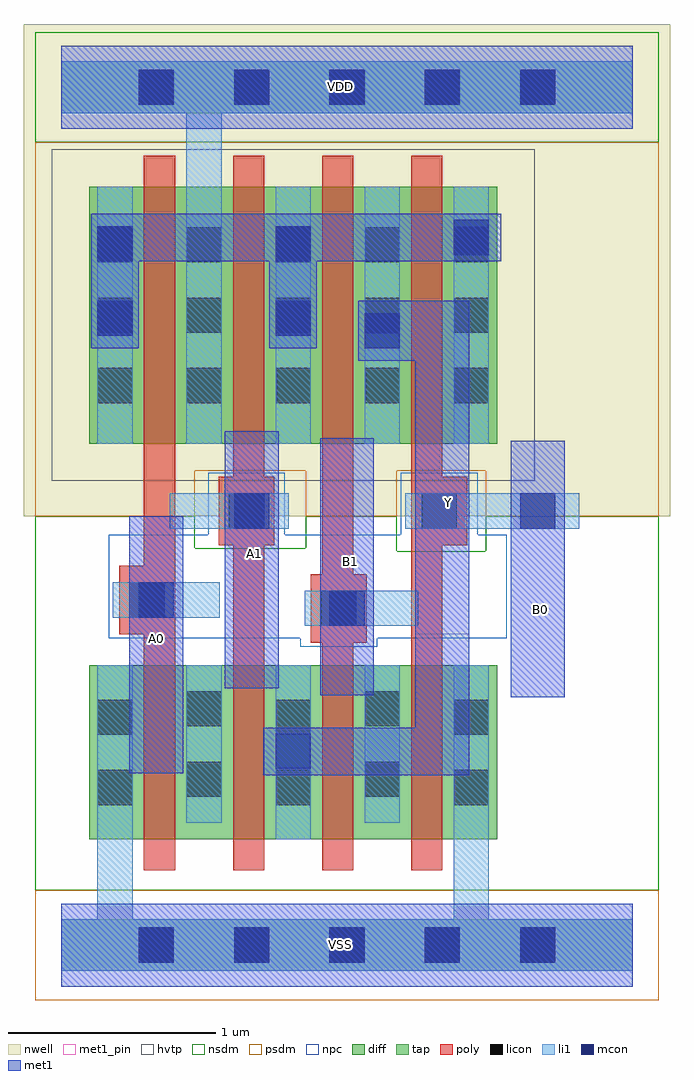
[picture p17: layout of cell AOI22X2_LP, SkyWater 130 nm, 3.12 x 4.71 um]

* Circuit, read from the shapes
.subckt AOI22X2_LP A0 A1 B0 B1 VDD VSS Y
XM1 n1 A0 VSS VSS sky130_fd_pr__nfet_01v8 w=0.84 l=0.15
XM2 Y A1 n1 VSS sky130_fd_pr__nfet_01v8 w=0.84 l=0.15
XM3 n2 B1 Y VSS sky130_fd_pr__nfet_01v8 w=0.84 l=0.15
XM4 VSS B0 n2 VSS sky130_fd_pr__nfet_01v8 w=0.84 l=0.15
XM5 VDD A0 n3 VDD sky130_fd_pr__pfet_01v8_hvt w=1.24 l=0.15
XM6 n3 A1 VDD VDD sky130_fd_pr__pfet_01v8_hvt w=1.24 l=0.15
XM7 Y B1 n3 VDD sky130_fd_pr__pfet_01v8_hvt w=1.24 l=0.15
XM8 n3 B0 Y VDD sky130_fd_pr__pfet_01v8_hvt w=1.24 l=0.15
.ends

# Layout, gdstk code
import gdstk
lib = gdstk.Library(unit=1e-6, precision=1e-09)
def R(c, l, rs):  # rectangles x0, y0, x1, y1
    for r in rs: c.add(gdstk.rectangle(r[:2], r[2:], *l))
def A(c, l, x, y, w, h, nx, ny, dx, dy):  # array of equal rectangles
    R(c, l, [(x+i*dx, y+j*dy, x+i*dx+w, y+j*dy+h) for i in range(nx) for j in range(ny)])
def P(c, l, *ps):  # polygons
    for p in ps: c.add(gdstk.Polygon(p, *l))
nwell = (64, 20)
diff = (65, 20)
tap = (65, 44)
poly = (66, 20)
licon = (66, 44)
li1 = (67, 20)
mcon = (67, 44)
met1_pin = (68, 16)
met1 = (68, 20)
hvtp = (78, 44)
nsdm = (93, 44)
psdm = (94, 20)
npc = (95, 20)

l1m1_c_cdns_750721840971 = lib.new_cell('L1M1_C_CDNS_750721840971')
R(l1m1_c_cdns_750721840971, li1, [(-0.085,-0.165,0.085,0.165)])
R(l1m1_c_cdns_750721840971, mcon, [(-0.085,-0.085,0.085,0.085)])
R(l1m1_c_cdns_750721840971, met1, [(-0.115,-0.145,0.115,0.145)])

c_l1m1_c_cdns_750721840971 = lib.new_cell('L1M1_C_CDNS_7507218409710')
R(c_l1m1_c_cdns_750721840971, li1, [(-0.085,-0.165,0.085,0.165)])
R(c_l1m1_c_cdns_750721840971, mcon, [(-0.085,-0.085,0.085,0.085)])
R(c_l1m1_c_cdns_750721840971, met1, [(-0.145,-0.115,0.145,0.115)])

licondiff_c_cdns_7507218 = lib.new_cell('LICONDIFF_C_CDNS_750721840974')
R(licondiff_c_cdns_7507218, diff, [(-0.125,-0.145,0.125,0.145)])
R(licondiff_c_cdns_7507218, licon, [(-0.085,-0.085,0.085,0.085), (-0.085,-0.085,0.085,0.085)])

pyl1con_c_cdns_750721840 = lib.new_cell('PYL1CON_C_CDNS_750721840972')
R(pyl1con_c_cdns_750721840, poly, [(-0.135,-0.165,0.135,0.165)])
R(pyl1con_c_cdns_750721840, licon, [(-0.085,-0.085,0.085,0.085)])
R(pyl1con_c_cdns_750721840, npc, [(-0.185,-0.185,0.185,0.185)])

c_l1m1_c_cdns_750721840971_ = lib.new_cell('L1M1_C_CDNS_7507218409713')
R(c_l1m1_c_cdns_750721840971_, li1, [(-0.085,-0.085,0.085,0.085)])
R(c_l1m1_c_cdns_750721840971_, mcon, [(-0.085,-0.085,0.085,0.085)])
R(c_l1m1_c_cdns_750721840971_, met1, [(-0.145,-0.115,0.145,0.115)])

l1m1_c_cdns_750721840973 = lib.new_cell('L1M1_C_CDNS_750721840973')
R(l1m1_c_cdns_750721840973, li1, [(-0.165,-0.085,0.165,0.085)])
R(l1m1_c_cdns_750721840973, mcon, [(-0.085,-0.085,0.085,0.085)])
R(l1m1_c_cdns_750721840973, met1, [(-0.115,-0.145,0.115,0.145)])

l1m1_c_cdns_750721840975 = lib.new_cell('L1M1_C_CDNS_750721840975')
R(l1m1_c_cdns_750721840975, li1, [(-0.085,-0.345,0.085,0.345)])
R(l1m1_c_cdns_750721840975, mcon, [(-0.085,-0.265,0.085,-0.095), (-0.085,0.095,0.085,0.265)])
R(l1m1_c_cdns_750721840975, met1, [(-0.115,-0.325,0.115,0.325)])

aoi22x2_lp = lib.new_cell('AOI22X2_LP')
R(aoi22x2_lp, nwell, [(-0.18,2.07,2.94,4.305), (-0.045,2.24,0.955,3.84), (0.595,2.24,1.385,3.84), (1.025,2.24,1.815,3.84), (1.455,2.24,2.285,3.84), (-0.18,3.875,2.94,4.445)])
A(aoi22x2_lp, diff, 0.4, 0.51, 0.15, 0.84, 4, 1, 0.43, 0)
A(aoi22x2_lp, diff, 0.4, 2.42, 0.15, 1.24, 4, 1, 0.43, 0)
A(aoi22x2_lp, diff, 0.55, 2.42, 0.225, 1.24, 3, 1, 0.43, 0)
A(aoi22x2_lp, diff, 0.775, 2.42, 0.055, 1.24, 3, 1, 0.43, 0)
R(aoi22x2_lp, diff, [(0.135,0.51,0.4,1.35), (0.55,0.51,0.605,1.35), (0.605,0.51,0.83,1.35), (0.98,0.51,1.205,1.35), (1.205,0.51,1.26,1.35), (1.41,0.51,1.635,1.35), (1.635,0.51,1.69,1.35), (1.84,0.51,2.105,1.35), (0.135,2.42,0.4,3.66), (1.84,2.42,2.105,3.66)])
A(aoi22x2_lp, poly, 0.4, 0.36, 0.15, 0.055, 4, 2, 0.43, 1.085)
A(aoi22x2_lp, poly, 0.4, 0.415, 0.15, 0.095, 4, 2, 0.43, 0.935)
A(aoi22x2_lp, poly, 0.4, 0.51, 0.15, 0.84, 4, 1, 0.43, 0)
A(aoi22x2_lp, poly, 0.4, 2.27, 0.15, 0.055, 4, 2, 0.43, 1.485)
A(aoi22x2_lp, poly, 0.4, 2.325, 0.15, 0.095, 4, 2, 0.43, 1.335)
A(aoi22x2_lp, poly, 0.4, 2.42, 0.15, 1.24, 4, 1, 0.43, 0)
A(aoi22x2_lp, licon, 0.375, -0.085, 0.17, 0.17, 5, 2, 0.46, 4.14)
A(aoi22x2_lp, licon, 0.175, 0.675, 0.17, 0.17, 3, 2, 0.86, 0.34)
A(aoi22x2_lp, licon, 0.175, 2.615, 0.17, 0.17, 5, 3, 0.43, 0.34)
A(aoi22x2_lp, li1, 0.175, 0.51, 0.17, 0.84, 3, 1, 0.86, 0)
A(aoi22x2_lp, li1, 0.175, 2.42, 0.17, 1.24, 5, 1, 0.43, 0)
A(aoi22x2_lp, mcon, 0.375, -0.085, 0.17, 0.17, 5, 2, 0.46, 4.14)
R(aoi22x2_lp, met1_pin, [(0.33,0.83,0.59,2.07), (2.17,1.195,2.43,2.435), (1.25,1.205,1.51,2.445), (0.79,1.24,1.05,2.48), (1.71,1.5,1.97,3.11)])
R(aoi22x2_lp, met1, [(1.435,2.82,1.97,3.11)])
R(aoi22x2_lp, hvtp, [(-0.045,2.24,0.955,3.84), (0.595,2.24,1.385,3.84), (1.025,2.24,1.815,3.84), (1.455,2.24,2.285,3.84)])
R(aoi22x2_lp, nsdm, [(-0.005,0.38,0.615,1.48), (0.595,0.38,1.215,1.48), (1.195,0.38,1.645,1.48), (1.625,0.38,2.245,1.48), (-0.125,3.875,2.885,4.405), (-0.125,3.93,2.885,4.35)])
P(aoi22x2_lp, nsdm, [(2.885,2.07),(2.05,2.07),(2.05,1.9),(1.62,1.9),(1.62,2.07),(1.18,2.07),(1.18,1.915),(0.645,1.915),(0.645,2.07),(-0.125,2.07),(-0.125,0.265),(2.885,0.265)])
R(aoi22x2_lp, psdm, [(-0.125,-0.265,2.885,0.265), (-0.125,-0.21,2.885,0.21), (-0.005,2.29,0.785,3.79), (0.765,2.29,1.215,3.79), (1.195,2.29,1.645,3.79), (1.625,2.29,2.245,3.79)])
P(aoi22x2_lp, psdm, [(2.885,3.875),(-0.125,3.875),(-0.125,2.07),(0.645,2.07),(0.645,2.29),(1.18,2.29),(1.18,2.07),(1.62,2.07),(1.62,2.29),(2.05,2.29),(2.05,2.07),(2.885,2.07)])
R(aoi22x2_lp, npc, [(0.23,1.48,2.15,1.98)])
aoi22x2_lp.add(gdstk.FlexPath([(0,0),(0.69,0)], 0.25, ends=(0, 0.085), simple_path=True, layer=67, datatype=20))  # li1
aoi22x2_lp.add(gdstk.FlexPath([(0.69,0),(2.76,0)], 0.25, ends=(0.085, 0), simple_path=True, layer=67, datatype=20))  # li1
aoi22x2_lp.add(gdstk.FlexPath([(0,4.14),(0.69,4.14)], 0.25, ends=(0, 0.085), simple_path=True, layer=67, datatype=20))  # li1
aoi22x2_lp.add(gdstk.FlexPath([(0.69,4.14),(2.76,4.14)], 0.25, ends=(0.085, 0), simple_path=True, layer=67, datatype=20))  # li1
aoi22x2_lp.add(gdstk.FlexPath([(0.755,2.095),(1.1,2.095)], 0.17, ends="flush", simple_path=True, layer=67, datatype=20))  # li1
aoi22x2_lp.add(gdstk.FlexPath([(0.26,0.59),(0.26,0)], 0.17, ends="flush", simple_path=True, layer=67, datatype=20))  # li1
aoi22x2_lp.add(gdstk.FlexPath([(1.175,1.625),(1.725,1.625)], 0.17, ends="flush", simple_path=True, layer=67, datatype=20))  # li1
aoi22x2_lp.add(gdstk.FlexPath([(2.5,2.095),(1.66,2.095)], 0.17, ends="flush", simple_path=True, layer=67, datatype=20))  # li1
aoi22x2_lp.add(gdstk.FlexPath([(0.69,0.59),(0.69,1.35)], 0.17, ends="flush", simple_path=True, layer=67, datatype=20))  # li1
aoi22x2_lp.add(gdstk.FlexPath([(1.1,2.095),(0.525,2.095)], 0.17, ends="flush", simple_path=True, layer=67, datatype=20))  # li1
aoi22x2_lp.add(gdstk.FlexPath([(0.69,3.55),(0.69,4.14)], 0.17, ends=(0, 0.125), simple_path=True, layer=67, datatype=20))  # li1
aoi22x2_lp.add(gdstk.FlexPath([(0.765,1.665),(0.25,1.665)], 0.17, ends="flush", simple_path=True, layer=67, datatype=20))  # li1
aoi22x2_lp.add(gdstk.FlexPath([(1.98,0.59),(1.98,0)], 0.17, ends="flush", simple_path=True, layer=67, datatype=20))  # li1
aoi22x2_lp.add(gdstk.FlexPath([(0.295,1.665),(0.64,1.665)], 0.17, ends="flush", simple_path=True, layer=67, datatype=20))  # li1
aoi22x2_lp.add(gdstk.FlexPath([(1.215,1.625),(1.56,1.625)], 0.17, ends="flush", simple_path=True, layer=67, datatype=20))  # li1
aoi22x2_lp.add(gdstk.FlexPath([(1.55,0.59),(1.55,1.35)], 0.17, ends="flush", simple_path=True, layer=67, datatype=20))  # li1
aoi22x2_lp.add(gdstk.FlexPath([(1.765,2.27),(1.765,1.5)], 0.15, ends="flush", simple_path=True, layer=66, datatype=20))  # poly
aoi22x2_lp.add(gdstk.FlexPath([(1.335,2.27),(1.335,1.5)], 0.15, ends="flush", simple_path=True, layer=66, datatype=20))  # poly
aoi22x2_lp.add(gdstk.FlexPath([(0.905,2.27),(0.905,1.5)], 0.15, ends="flush", simple_path=True, layer=66, datatype=20))  # poly
aoi22x2_lp.add(gdstk.FlexPath([(0.475,2.27),(0.475,1.5)], 0.15, ends="flush", simple_path=True, layer=66, datatype=20))  # poly
aoi22x2_lp.add(gdstk.FlexPath([(0,4.14),(2.76,4.14)], 0.4, ends="flush", simple_path=True, layer=68, datatype=20))  # met1
aoi22x2_lp.add(gdstk.FlexPath([(2.3,2.435),(2.3,1.195)], 0.26, ends="flush", simple_path=True, layer=68, datatype=20))  # met1
aoi22x2_lp.add(gdstk.FlexPath([(1.38,2.445),(1.38,1.205)], 0.26, ends="flush", simple_path=True, layer=68, datatype=20))  # met1
aoi22x2_lp.add(gdstk.FlexPath([(0.92,2.48),(0.92,1.24)], 0.26, ends="flush", simple_path=True, layer=68, datatype=20))  # met1
aoi22x2_lp.add(gdstk.FlexPath([(0.46,2.07),(0.46,0.83)], 0.26, ends="flush", simple_path=True, layer=68, datatype=20))  # met1
aoi22x2_lp.add(gdstk.FlexPath([(1.84,3.11),(1.84,0.965)], 0.26, ends=(0, 0.145), simple_path=True, layer=68, datatype=20))  # met1
aoi22x2_lp.add(gdstk.FlexPath([(0.26,3.415),(1.98,3.415)], 0.23, ends=(0.115, 0), simple_path=True, layer=68, datatype=20))  # met1
aoi22x2_lp.add(gdstk.FlexPath([(0.26,3.37),(0.26,3.415)], 0.23, ends=(0, 0.115), simple_path=True, layer=68, datatype=20))  # met1
aoi22x2_lp.add(gdstk.FlexPath([(1.84,0.935),(1.12,0.935)], 0.23, ends="flush", simple_path=True, layer=68, datatype=20))  # met1
aoi22x2_lp.add(gdstk.FlexPath([(0,0),(2.76,0)], 0.4, ends="flush", simple_path=True, layer=68, datatype=20))  # met1
aoi22x2_lp.add(gdstk.FlexPath([(0,0),(2.76,0)], 0.25, ends="flush", simple_path=True, layer=65, datatype=44))  # tap
aoi22x2_lp.add(gdstk.FlexPath([(0,4.14),(2.76,4.14)], 0.25, ends="flush", simple_path=True, layer=65, datatype=44))  # tap
aoi22x2_lp.add(gdstk.FlexPath([(0,4.14),(2.76,4.14)], 0.4, ends="flush", simple_path=True, layer=68, datatype=16))  # met1_pin
aoi22x2_lp.add(gdstk.FlexPath([(0,0),(2.76,0)], 0.4, ends="flush", simple_path=True, layer=68, datatype=16))  # met1_pin
aoi22x2_lp.add(gdstk.Reference(l1m1_c_cdns_750721840971, (1.55,2.965)))
aoi22x2_lp.add(gdstk.Reference(c_l1m1_c_cdns_750721840971, (1.12,0.935)))
aoi22x2_lp.add(gdstk.Reference(licondiff_c_cdns_7507218, (1.55,1.14)))
aoi22x2_lp.add(gdstk.Reference(licondiff_c_cdns_7507218, (1.55,0.8)))
aoi22x2_lp.add(gdstk.Reference(licondiff_c_cdns_7507218, (0.69,1.14)))
aoi22x2_lp.add(gdstk.Reference(licondiff_c_cdns_7507218, (0.69,0.8)))
aoi22x2_lp.add(gdstk.Reference(pyl1con_c_cdns_750721840, (1.34,1.625)))
aoi22x2_lp.add(gdstk.Reference(pyl1con_c_cdns_750721840, (1.825,2.095)))
aoi22x2_lp.add(gdstk.Reference(pyl1con_c_cdns_750721840, (0.895,2.095)))
aoi22x2_lp.add(gdstk.Reference(pyl1con_c_cdns_750721840, (0.415,1.665)))
aoi22x2_lp.add(gdstk.Reference(c_l1m1_c_cdns_750721840971_, (1.98,3.415)))
aoi22x2_lp.add(gdstk.Reference(l1m1_c_cdns_750721840973, (1.38,1.625)))
aoi22x2_lp.add(gdstk.Reference(l1m1_c_cdns_750721840973, (2.3,2.095)))
aoi22x2_lp.add(gdstk.Reference(l1m1_c_cdns_750721840973, (0.92,2.095)))
aoi22x2_lp.add(gdstk.Reference(l1m1_c_cdns_750721840973, (0.46,1.665)))
aoi22x2_lp.add(gdstk.Reference(l1m1_c_cdns_750721840975, (1.12,3.205)))
aoi22x2_lp.add(gdstk.Reference(l1m1_c_cdns_750721840975, (0.26,3.205)))
aoi22x2_lp.add(gdstk.Label('VDD', (1.35,4.145), layer=68, texttype=5))
aoi22x2_lp.add(gdstk.Label('Y', (1.87,2.135), layer=68, texttype=5))
aoi22x2_lp.add(gdstk.Label('A1', (0.935,1.89), layer=68, texttype=5))
aoi22x2_lp.add(gdstk.Label('A0', (0.46,1.48), layer=68, texttype=5))
aoi22x2_lp.add(gdstk.Label('B1', (1.395,1.85), layer=68, texttype=5))
aoi22x2_lp.add(gdstk.Label('B0', (2.315,1.62), layer=68, texttype=5))
aoi22x2_lp.add(gdstk.Label('VSS', (1.35,0.005), layer=68, texttype=5))

lib.write_gds('AOI22X2_LP.gds')
